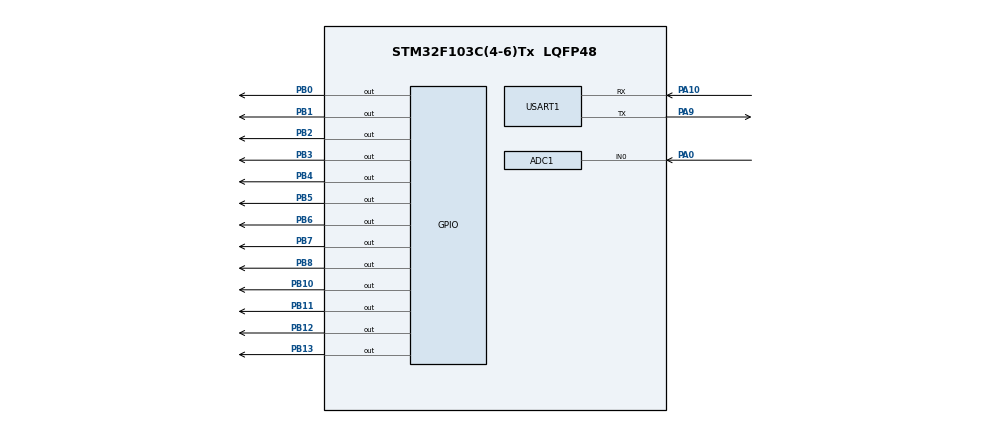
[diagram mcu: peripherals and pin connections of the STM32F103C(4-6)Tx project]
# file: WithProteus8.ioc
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ADC1.Channel-0\#ChannelRegularConversion=ADC_CHANNEL_0
ADC1.ContinuousConvMode=ENABLE
ADC1.NbrOfConversion=1
ADC1.NbrOfConversionFlag=1
ADC1.Rank-0\#ChannelRegularConversion=1
ADC1.SamplingTime-0\#ChannelRegularConversion=ADC_SAMPLETIME_1CYCLE_5
ADC1.master=1
Mcu.Family=STM32F1
Mcu.Name=STM32F103C(4-6)Tx
Mcu.Package=LQFP48
NVIC.PriorityGroup=NVIC_PRIORITYGROUP_4
PA0-WKUP.Signal=ADCx_IN0
PA10.Mode=Asynchronous
PA10.Signal=USART1_RX
PA9.Mode=Asynchronous
PA9.Signal=USART1_TX
PB0.Signal=GPIO_Output
PB1.Signal=GPIO_Output
PB10.Signal=GPIO_Output
PB11.Signal=GPIO_Output
PB12.Signal=GPIO_Output
PB13.Signal=GPIO_Output
PB2.Signal=GPIO_Output
PB3.Signal=GPIO_Output
PB4.Signal=GPIO_Output
PB5.Signal=GPIO_Output
PB6.Signal=GPIO_Output
PB7.Signal=GPIO_Output
PB8.Signal=GPIO_Output
ProjectManager.HeapSize=0x200
ProjectManager.StackSize=0x400
ProjectManager.TargetToolchain=MDK-ARM V5.32
RCC.APB1Freq_Value=8000000
RCC.APB2Freq_Value=8000000
SH.ADCx_IN0.0=ADC1_IN0,IN0
USART1.VirtualMode=VM_ASYNC
VP_SYS_VS_ND.Mode=No_Debug
board=custom

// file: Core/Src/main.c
/* USER CODE BEGIN Header */
/**
  ******************************************************************************
  * @file           : main.c
  * @brief          : Main program body
  ******************************************************************************
  * @attention
  *
  * Copyright (c) 2026 STMicroelectronics.
  * All rights reserved.
  *
  * This software is licensed under terms that can be found in the LICENSE file
  * in the root directory of this software component.
  * If no LICENSE file comes with this software, it is provided AS-IS.
  *
  ******************************************************************************
  */
/* USER CODE END Header */
#include "main.h"

/* USER CODE BEGIN Includes */
#include <stdio.h>
#include <string.h>
#include "lcd.h"
/* USER CODE END Includes */

ADC_HandleTypeDef hadc1;

UART_HandleTypeDef huart1;

void SystemClock_Config(void);
static void MX_GPIO_Init(void);
static void MX_ADC1_Init(void);
static void MX_USART1_UART_Init(void);

/* USER CODE BEGIN 0 */

uint16_t adc;

char msg[40];

/* USER CODE END 0 */

int main(void)
{

  /* MCU Configuration--------------------------------------------------------*/

  /* Reset of all peripherals, Initializes the Flash interface and the Systick. */
  HAL_Init();

  /* Configure the system clock */
  SystemClock_Config();

  /* Initialize all configured peripherals */
  MX_GPIO_Init();
  MX_ADC1_Init();
  MX_USART1_UART_Init();
  /* USER CODE BEGIN 2 */
	HAL_ADC_Start(&hadc1);
	LCD_Init();
	LCD_Clear();
	LCD_SetCursor(0, 0);
	LCD_Print("Smart Factory");
	LCD_SetCursor(1, 0);
	LCD_Print("Initializing...");
	HAL_Delay(2000);
  /* USER CODE END 2 */

  /* Infinite loop */
		while (1)
		{

    /* USER CODE BEGIN 3 */

			HAL_ADC_PollForConversion(&hadc1, HAL_MAX_DELAY);
			adc = HAL_ADC_GetValue(&hadc1);

			uint16_t vib_scaled = (uint16_t)(((uint32_t)adc * 140) / 4095);
			uint8_t vib_int = (uint8_t)(vib_scaled / 10);
			uint8_t vib_dec = (uint8_t)(vib_scaled % 10);

			// LED Trend
			// vib_scaled
			HAL_GPIO_WritePin(GPIOB, GPIO_PIN_10, (vib_scaled >= 0)   ? GPIO_PIN_SET : GPIO_PIN_RESET);
			HAL_GPIO_WritePin(GPIOB, GPIO_PIN_11, (vib_scaled >= 36)  ? GPIO_PIN_SET : GPIO_PIN_RESET);
			HAL_GPIO_WritePin(GPIOB, GPIO_PIN_12, (vib_scaled >= 70)  ? GPIO_PIN_SET : GPIO_PIN_RESET);
			HAL_GPIO_WritePin(GPIOB, GPIO_PIN_13, (vib_scaled >= 105) ? GPIO_PIN_SET : GPIO_PIN_RESET);
			// NORMAL  : 0.0 - 2.8 mm/s
			// WARNING : 2.8 - 7.1 mm/s
			// DANGER  : ????? 7.1 mm/s
			const char* status;
			if (adc < 819)
					status = "NORMAL  ";
			else if (adc < 2074)
					status = "WARNING!";
			else
					status = "DANGER!!";

			//  UART
			sprintf(msg, "Vib:%u.%u mm/s %s\r\n",
					(unsigned int)vib_int,
					(unsigned int)vib_dec,
					status);
			HAL_UART_Transmit(&huart1, (uint8_t*)msg, strlen(msg), HAL_MAX_DELAY);

			//  LED
			if (adc < 819)
			{
				HAL_GPIO_WritePin(GPIOB, GPIO_PIN_0, GPIO_PIN_SET);
				HAL_GPIO_WritePin(GPIOB, GPIO_PIN_1, GPIO_PIN_RESET);
				HAL_Delay(500);
			}
			else if (adc < 2074)
			{
				HAL_GPIO_WritePin(GPIOB, GPIO_PIN_0, GPIO_PIN_RESET);
				HAL_GPIO_WritePin(GPIOB, GPIO_PIN_1, GPIO_PIN_SET);
				HAL_Delay(500);
				HAL_GPIO_WritePin(GPIOB, GPIO_PIN_1, GPIO_PIN_RESET);
				HAL_Delay(500);
			}
			else
			{
					HAL_GPIO_WritePin(GPIOB, GPIO_PIN_0, GPIO_PIN_RESET);
					HAL_GPIO_WritePin(GPIOB, GPIO_PIN_1, GPIO_PIN_SET);
					HAL_Delay(100);
					HAL_GPIO_WritePin(GPIOB, GPIO_PIN_1, GPIO_PIN_RESET);
					HAL_Delay(100);
			}

			char lcdLine1[17];
			char lcdLine2[17];

			sprintf(lcdLine1, "Vib:%2u.%u mm/s  ",
					(unsigned int)vib_int,
					(unsigned int)vib_dec);
			lcdLine1[16] = '\0';

			sprintf(lcdLine2, "Status: %s", status);
			lcdLine2[16] = '\0';

			LCD_SetCursor(0, 0);
			LCD_Print(lcdLine1);
			LCD_SetCursor(1, 0);
			LCD_Print(lcdLine2);
			}
  /* USER CODE END 3 */
}

void SystemClock_Config(void)
{
  RCC_OscInitTypeDef RCC_OscInitStruct = {0};
  RCC_ClkInitTypeDef RCC_ClkInitStruct = {0};
  RCC_PeriphCLKInitTypeDef PeriphClkInit = {0};

  /** Initializes the RCC Oscillators according to the specified parameters
  * in the RCC_OscInitTypeDef structure.
  */
  RCC_OscInitStruct.OscillatorType = RCC_OSCILLATORTYPE_HSI;
  RCC_OscInitStruct.HSIState = RCC_HSI_ON;
  RCC_OscInitStruct.HSICalibrationValue = RCC_HSICALIBRATION_DEFAULT;
  RCC_OscInitStruct.PLL.PLLState = RCC_PLL_NONE;
  if (HAL_RCC_OscConfig(&RCC_OscInitStruct) != HAL_OK)
  {
    Error_Handler();
  }

  /** Initializes the CPU, AHB and APB buses clocks
  */
  RCC_ClkInitStruct.ClockType = RCC_CLOCKTYPE_HCLK|RCC_CLOCKTYPE_SYSCLK
                              |RCC_CLOCKTYPE_PCLK1|RCC_CLOCKTYPE_PCLK2;
  RCC_ClkInitStruct.SYSCLKSource = RCC_SYSCLKSOURCE_HSI;
  RCC_ClkInitStruct.AHBCLKDivider = RCC_SYSCLK_DIV1;
  RCC_ClkInitStruct.APB1CLKDivider = RCC_HCLK_DIV1;
  RCC_ClkInitStruct.APB2CLKDivider = RCC_HCLK_DIV1;

  if (HAL_RCC_ClockConfig(&RCC_ClkInitStruct, FLASH_LATENCY_0) != HAL_OK)
  {
    Error_Handler();
  }
  PeriphClkInit.PeriphClockSelection = RCC_PERIPHCLK_ADC;
  PeriphClkInit.AdcClockSelection = RCC_ADCPCLK2_DIV2;
  if (HAL_RCCEx_PeriphCLKConfig(&PeriphClkInit) != HAL_OK)
  {
    Error_Handler();
  }
}

static void MX_ADC1_Init(void)
{

  ADC_ChannelConfTypeDef sConfig = {0};

  /** Common config
  */
  hadc1.Instance = ADC1;
  hadc1.Init.ScanConvMode = ADC_SCAN_DISABLE;
  hadc1.Init.ContinuousConvMode = ENABLE;
  hadc1.Init.DiscontinuousConvMode = DISABLE;
  hadc1.Init.ExternalTrigConv = ADC_SOFTWARE_START;
  hadc1.Init.DataAlign = ADC_DATAALIGN_RIGHT;
  hadc1.Init.NbrOfConversion = 1;
  if (HAL_ADC_Init(&hadc1) != HAL_OK)
  {
    Error_Handler();
  }

  /** Configure Regular Channel
  */
  sConfig.Channel = ADC_CHANNEL_0;
  sConfig.Rank = ADC_REGULAR_RANK_1;
  sConfig.SamplingTime = ADC_SAMPLETIME_1CYCLE_5;
  if (HAL_ADC_ConfigChannel(&hadc1, &sConfig) != HAL_OK)
  {
    Error_Handler();
  }

}

static void MX_USART1_UART_Init(void)
{

  huart1.Instance = USART1;
  huart1.Init.BaudRate = 115200;
  huart1.Init.WordLength = UART_WORDLENGTH_8B;
  huart1.Init.StopBits = UART_STOPBITS_1;
  huart1.Init.Parity = UART_PARITY_NONE;
  huart1.Init.Mode = UART_MODE_TX_RX;
  huart1.Init.HwFlowCtl = UART_HWCONTROL_NONE;
  huart1.Init.OverSampling = UART_OVERSAMPLING_16;
  if (HAL_UART_Init(&huart1) != HAL_OK)
  {
    Error_Handler();
  }

}

static void MX_GPIO_Init(void)
{
  GPIO_InitTypeDef GPIO_InitStruct = {0};

  /* GPIO Ports Clock Enable */
  __HAL_RCC_GPIOA_CLK_ENABLE();
  __HAL_RCC_GPIOB_CLK_ENABLE();

  /*Configure GPIO pin Output Level */
  HAL_GPIO_WritePin(GPIOB, GPIO_PIN_0|GPIO_PIN_1|GPIO_PIN_2|GPIO_PIN_10
                          |GPIO_PIN_11|GPIO_PIN_12|GPIO_PIN_13|GPIO_PIN_3
                          |GPIO_PIN_4|GPIO_PIN_5|GPIO_PIN_6|GPIO_PIN_7
                          |GPIO_PIN_8, GPIO_PIN_RESET);

  /*Configure GPIO pins : PB0 PB1 PB2 PB10
                           PB11 PB12 PB13 PB3
                           PB4 PB5 PB6 PB7
                           PB8 */
  GPIO_InitStruct.Pin = GPIO_PIN_0|GPIO_PIN_1|GPIO_PIN_2|GPIO_PIN_10
                          |GPIO_PIN_11|GPIO_PIN_12|GPIO_PIN_13|GPIO_PIN_3
                          |GPIO_PIN_4|GPIO_PIN_5|GPIO_PIN_6|GPIO_PIN_7
                          |GPIO_PIN_8;
  GPIO_InitStruct.Mode = GPIO_MODE_OUTPUT_PP;
  GPIO_InitStruct.Pull = GPIO_NOPULL;
  GPIO_InitStruct.Speed = GPIO_SPEED_FREQ_LOW;
  HAL_GPIO_Init(GPIOB, &GPIO_InitStruct);

}

void Error_Handler(void)
{
  __disable_irq();
  while (1)
  {
  }
}
